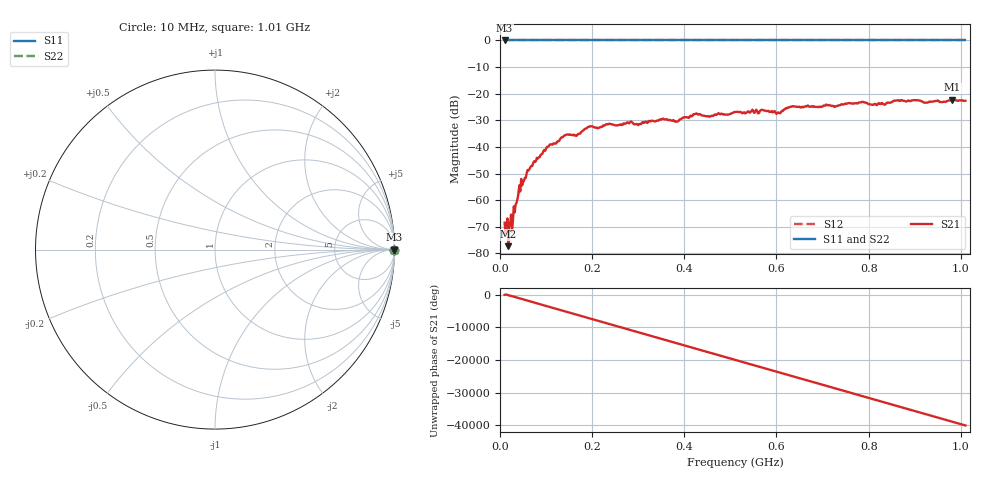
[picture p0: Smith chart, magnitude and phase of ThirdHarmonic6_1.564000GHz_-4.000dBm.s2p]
! 8/16/2025 6:35:00 PM
! C:\ANRITSUVNA\TEMP\TEMP.S2P
! CHANNEL.1
! TR.MEASUREMENT
! RAW.DATA
! RF.CORRECTION.OFF
! AVERAGING.OFF
! IF.BANDWIDTH: 5KHZ
! SWEEPTYPE:  FREQ.SWEEP(Linear)
! Reference Plane Port Info
! PORT:  PORT1  PORT2
! DISTANCE:  0  m  0  m
! TIME:  0  s  0  s
! PHASE.OFFSET:  0  deg.  0  deg.
! LOSS:  0  dB  0  dB
! REF.LOSS:  0  dB  0  dB
! REF.FREQ:  0  Hz  0  Hz
! Power Info
! POWER:  -20  dBm  -20  dBm
! EFF.POWER:  -20  dBm  -20  dBm
! SOURCE.ATTEN:  0  dB  0  dB
! TEST.ATTEN:  0  dB  0  dB
# GHZ S RI R 50.0
! FREQ.GHZ  S11RE  S11IM  S21RE  S21IM  S12RE  S12IM  S22RE  S22IM
!; PortSelection: Port_12
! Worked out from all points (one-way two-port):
!   501 points, 10 MHz to 1.01 GHz, reference 50 ohm
!   highest |S21| = -22.31 dB at 982 MHz (marker M1); lowest = -77.3 dB at 18 MHz (marker M2)
!   lowest |S11| = 0.0 dB at 10 MHz (marker M3)
!   |S11| at or under -10 dB: nowhere
!   |S22| runs from 0.0 to 0.0 dB; largest |S21 - S12| = 1.1
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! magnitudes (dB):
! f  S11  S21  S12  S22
! 10 MHz  0.0  -68.5  0.0  0.0
! 12 MHz  0.0  -72.7  0.0  0.0
! 14 MHz  0.0  -70.5  0.0  0.0
! 18 MHz  0.0  -77.3  0.0  0.0
! 22 MHz  0.0  -69.3  0.0  0.0
! 44 MHz  0.0  -56.7  0.0  0.0
! 76 MHz  0.0  -45.7  0.0  0.0
! 106 MHz  0.0  -39.7  0.0  0.0
! 136 MHz  0.0  -36.4  0.0  0.0
! 178 MHz  0.0  -34.2  0.0  0.0
! 196 MHz  0.0  -32.2  0.0  0.0
! 344 MHz  0.0  -30.2  0.0  0.0
! 384 MHz  0.0  -30.5  0.0  0.0
! 424 MHz  0.0  -27.6  0.0  0.0
! 452 MHz  0.0  -28.5  0.0  0.0
! 510 MHz  0.0  -26.9  0.0  0.0
! 604 MHz  0.0  -27.0  0.0  0.0
! 632 MHz  0.0  -24.9  0.0  0.0
! 678 MHz  0.0  -24.7  0.0  0.0
! 844 MHz  0.0  -23.4  0.0  0.0
! 982 MHz  0.0  -22.3  0.0  0.0
! 1.01 GHz  0.0  -22.6  0.0  0.0
